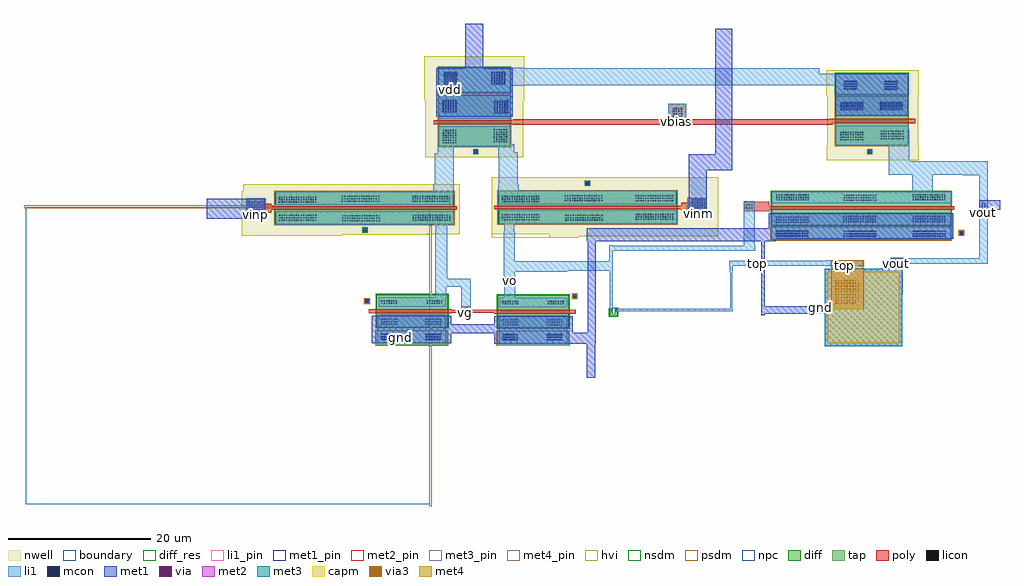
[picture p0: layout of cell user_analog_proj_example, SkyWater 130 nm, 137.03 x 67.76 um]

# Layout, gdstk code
import gdstk
lib = gdstk.Library(unit=1e-6, precision=1e-09)
def R(c, l, rs):  # rectangles x0, y0, x1, y1
    for r in rs: c.add(gdstk.rectangle(r[:2], r[2:], *l))
def A(c, l, x, y, w, h, nx, ny, dx, dy):  # array of equal rectangles
    R(c, l, [(x+i*dx, y+j*dy, x+i*dx+w, y+j*dy+h) for i in range(nx) for j in range(ny)])
nwell = (64, 20)
diff_res = (65, 13)
diff = (65, 20)
tap = (65, 44)
poly = (66, 20)
licon = (66, 44)
li1_pin = (67, 16)
li1 = (67, 20)
mcon = (67, 44)
met1_pin = (68, 16)
met1 = (68, 20)
via = (68, 44)
met2_pin = (69, 16)
met2 = (69, 20)
met3_pin = (70, 16)
met3 = (70, 20)
via3 = (70, 44)
met4_pin = (71, 16)
met4 = (71, 20)
hvi = (75, 20)
capm = (89, 44)
nsdm = (93, 44)
psdm = (94, 20)
npc = (95, 20)
boundary = (235, 4)

nmos_substrate = lib.new_cell('nmos_substrate')
R(nmos_substrate, tap, [(0,0,0.48,0.48)])
R(nmos_substrate, licon, [(0.15,0.15,0.32,0.32)])
R(nmos_substrate, li1, [(0,0,0.48,0.48)])
R(nmos_substrate, mcon, [(0.15,0.15,0.32,0.32)])
R(nmos_substrate, met1, [(0,0,0.48,0.48)])
R(nmos_substrate, hvi, [(-0.185,-0.185,0.665,0.665)])
R(nmos_substrate, psdm, [(-0.125,-0.125,0.605,0.605)])

pmos_substrate = lib.new_cell('pmos_substrate')
R(pmos_substrate, nwell, [(-0.33,-0.34,0.81,0.81)])
R(pmos_substrate, tap, [(0,0,0.48,0.48)])
R(pmos_substrate, licon, [(0.155,0.15,0.325,0.32)])
R(pmos_substrate, li1, [(0,0,0.48,0.48)])
R(pmos_substrate, mcon, [(0.155,0.15,0.325,0.32)])
R(pmos_substrate, met1, [(0,0,0.48,0.48)])
R(pmos_substrate, hvi, [(-0.33,-0.34,0.81,0.81)])
R(pmos_substrate, nsdm, [(-0.125,-0.125,0.605,0.605)])

user_analog_proj_example = lib.new_cell('user_analog_proj_example')
R(user_analog_proj_example, nwell, [(73.44,37.43,77.65,37.63), (73.44,37.63,97.17,37.91), (30.27,37.73,44.34,37.86), (30.27,37.86,56.13,37.91), (30.27,37.91,60.89,43.95), (65.38,37.91,97.17,44.93), (30.5,43.95,60.89,44.93), (65.39,44.93,97.17,45.9), (112.46,48.32,125.34,50.35), (56.07,48.72,69.83,56.68), (112.48,50.35,125.27,57.31), (55.89,56.68,69.96,62.9), (112.4,57.31,125.32,60.97)])
R(user_analog_proj_example, diff_res, [(81.97,26.44,83.07,26.73), (81.97,26.73,82.37,27.14), (82.67,26.73,83.07,27.05), (82.66,27.05,83.07,27.14), (81.97,27.14,82.07,27.34), (82.27,27.14,82.37,27.34), (82.66,27.14,82.78,27.34), (82.97,27.14,83.07,27.34), (81.97,27.34,82.37,27.44), (82.66,27.34,83.07,27.45)])
R(user_analog_proj_example, diff, [(66.25,24.81,76.24,29.36), (49.22,24.88,59.21,29.43), (81.97,26.44,83.07,26.73), (81.97,26.73,82.37,27.44), (82.67,26.73,83.07,27.05), (82.66,27.05,83.07,27.45), (104.69,39.16,129.89,43.92), (34.97,39.32,60.09,43.92), (66.29,39.4,91.41,44), (57.97,50.3,68.01,57.47), (113.69,50.4,123.85,57.31)])
R(user_analog_proj_example, tap, [(66.18,22.37,76.2,24.33), (49.15,22.38,59.17,24.4), (104.63,37.13,129.85,38.89), (113.67,57.6,123.85,60.45), (57.97,57.87,68.01,61.3)])
R(user_analog_proj_example, poly, [(65.78,26.79,77.21,26.88), (48.14,26.86,59.69,26.88), (48.14,26.88,77.21,27.35), (48.14,27.35,66.1,27.36), (48.14,27.36,59.69,27.42), (61.14,27.36,62.45,27.83), (31.04,40.42,33.51,40.98), (93.03,40.5,95.5,41.14), (31.04,40.98,34.46,41.34), (91.99,41.14,95.5,41.42), (100.79,41.15,103.83,41.19), (100.79,41.19,104.35,41.34), (31.04,41.34,60.52,41.86), (100.79,41.34,130.32,41.87), (65.78,41.42,95.5,41.94), (31.04,41.86,34.46,42.18), (100.79,41.87,104.35,42.49), (91.99,41.94,95.5,42.34), (31.04,42.18,33.51,42.97), (93.03,42.34,95.5,43.05), (90.2,53.23,92.7,53.27), (69.01,53.27,113,53.29), (68.38,53.29,113,53.32), (68.38,53.32,113.29,53.36), (57.24,53.36,113.29,53.54), (57.24,53.54,124.83,53.91), (68.38,53.91,124.83,54.09), (69.01,54.09,124.83,54.1), (90.2,54.1,92.7,56.27), (112.89,54.1,124.83,54.11), (112.89,54.11,113.33,54.13)])
A(user_analog_proj_example, licon, 73.125, 23.025, 0.17, 0.17, 7, 3, 0.34, 0.34)
A(user_analog_proj_example, licon, 66.845, 23.055, 0.17, 0.17, 7, 3, 0.34, 0.34)
A(user_analog_proj_example, licon, 56.095, 23.095, 0.17, 0.17, 7, 3, 0.34, 0.34)
A(user_analog_proj_example, licon, 49.815, 23.125, 0.17, 0.17, 7, 3, 0.34, 0.34)
A(user_analog_proj_example, licon, 66.945, 25.15, 0.17, 0.17, 7, 3, 0.34, 0.34)
A(user_analog_proj_example, licon, 73.105, 25.15, 0.17, 0.17, 7, 3, 0.34, 0.34)
A(user_analog_proj_example, licon, 49.915, 25.22, 0.17, 0.17, 7, 3, 0.34, 0.34)
A(user_analog_proj_example, licon, 56.075, 25.22, 0.17, 0.17, 7, 3, 0.34, 0.34)
A(user_analog_proj_example, licon, 66.905, 28.07, 0.17, 0.17, 7, 2, 0.34, 0.34)
A(user_analog_proj_example, licon, 73.295, 28.07, 0.17, 0.17, 7, 2, 0.34, 0.34)
A(user_analog_proj_example, licon, 49.875, 28.14, 0.17, 0.17, 7, 2, 0.34, 0.34)
A(user_analog_proj_example, licon, 56.265, 28.14, 0.17, 0.17, 7, 2, 0.34, 0.34)
A(user_analog_proj_example, licon, 105.25, 37.585, 0.17, 0.17, 14, 3, 0.34, 0.34)
A(user_analog_proj_example, licon, 114.8, 37.585, 0.17, 0.17, 14, 3, 0.34, 0.34)
A(user_analog_proj_example, licon, 124.54, 37.585, 0.17, 0.17, 14, 3, 0.34, 0.34)
A(user_analog_proj_example, licon, 105.3, 39.545, 0.17, 0.17, 14, 3, 0.34, 0.34)
A(user_analog_proj_example, licon, 114.75, 39.645, 0.17, 0.17, 14, 3, 0.34, 0.34)
A(user_analog_proj_example, licon, 124.49, 39.645, 0.17, 0.17, 14, 3, 0.34, 0.34)
A(user_analog_proj_example, licon, 44.415, 39.75, 0.17, 0.17, 16, 3, 0.34, 0.34)
A(user_analog_proj_example, licon, 35.515, 39.81, 0.17, 0.17, 16, 3, 0.34, 0.34)
A(user_analog_proj_example, licon, 75.735, 39.83, 0.17, 0.17, 16, 3, 0.34, 0.34)
A(user_analog_proj_example, licon, 54.305, 39.85, 0.17, 0.17, 16, 3, 0.34, 0.34)
A(user_analog_proj_example, licon, 66.835, 39.89, 0.17, 0.17, 16, 3, 0.34, 0.34)
A(user_analog_proj_example, licon, 85.625, 39.93, 0.17, 0.17, 16, 3, 0.34, 0.34)
A(user_analog_proj_example, licon, 31.38, 41.3, 0.17, 0.17, 6, 4, 0.34, 0.34)
A(user_analog_proj_example, licon, 101.125, 41.565, 0.17, 0.17, 3, 2, 0.34, 0.34)
A(user_analog_proj_example, licon, 93.53, 41.62, 0.17, 0.17, 6, 4, 0.34, 0.34)
A(user_analog_proj_example, licon, 35.515, 42.37, 0.17, 0.17, 16, 3, 0.34, 0.34)
A(user_analog_proj_example, licon, 66.835, 42.45, 0.17, 0.17, 16, 3, 0.34, 0.34)
A(user_analog_proj_example, licon, 54.265, 42.47, 0.17, 0.17, 16, 3, 0.34, 0.34)
A(user_analog_proj_example, licon, 44.335, 42.49, 0.17, 0.17, 16, 3, 0.34, 0.34)
A(user_analog_proj_example, licon, 85.585, 42.55, 0.17, 0.17, 16, 3, 0.34, 0.34)
A(user_analog_proj_example, licon, 75.655, 42.57, 0.17, 0.17, 16, 3, 0.34, 0.34)
A(user_analog_proj_example, licon, 114.8, 42.625, 0.17, 0.17, 14, 3, 0.34, 0.34)
A(user_analog_proj_example, licon, 105.35, 42.675, 0.17, 0.17, 14, 3, 0.34, 0.34)
A(user_analog_proj_example, licon, 124.49, 42.725, 0.17, 0.17, 14, 3, 0.34, 0.34)
A(user_analog_proj_example, licon, 58.555, 50.695, 0.17, 0.17, 6, 6, 0.34, 0.34)
A(user_analog_proj_example, licon, 65.675, 50.815, 0.17, 0.17, 6, 6, 0.34, 0.34)
A(user_analog_proj_example, licon, 114.365, 51.12, 0.17, 0.17, 10, 4, 0.34, 0.34)
A(user_analog_proj_example, licon, 120.035, 51.27, 0.17, 0.17, 10, 4, 0.34, 0.34)
A(user_analog_proj_example, licon, 90.89, 54.42, 0.17, 0.17, 4, 4, 0.34, 0.34)
A(user_analog_proj_example, licon, 65.755, 54.855, 0.17, 0.17, 6, 6, 0.34, 0.34)
A(user_analog_proj_example, licon, 58.555, 54.975, 0.17, 0.17, 6, 6, 0.34, 0.34)
A(user_analog_proj_example, licon, 114.365, 55.32, 0.17, 0.17, 10, 4, 0.34, 0.34)
A(user_analog_proj_example, licon, 119.885, 55.32, 0.17, 0.17, 10, 4, 0.34, 0.34)
A(user_analog_proj_example, licon, 120.53, 58.225, 0.17, 0.17, 6, 4, 0.34, 0.34)
A(user_analog_proj_example, licon, 114.82, 58.265, 0.17, 0.17, 6, 4, 0.34, 0.34)
A(user_analog_proj_example, licon, 58.675, 58.845, 0.17, 0.17, 6, 6, 0.34, 0.34)
A(user_analog_proj_example, licon, 65.395, 58.885, 0.17, 0.17, 6, 6, 0.34, 0.34)
R(user_analog_proj_example, licon, [(82.085,27.155,82.255,27.325), (82.79,27.155,82.96,27.325), (61.52,27.335,61.69,27.505), (61.86,27.335,62.03,27.505)])
R(user_analog_proj_example, li1_pin, [(61.52,26.92,61.99,27.09), (67.71,30.74,68.21,32.06), (102.34,33.71,103.04,34.01), (31.36,40.42,33.11,40.98), (93.58,40.58,95.33,41.14), (133.97,40.71,134.91,41.16), (90.73,53.46,92.02,53.92)])
R(user_analog_proj_example, li1, [(66.44,22.53,75.97,26.53), (49.41,22.6,58.94,26.6), (111.16,26.74,112.13,27.84), (61.14,26.86,62.45,30.57), (81.97,27.04,82.37,27.24), (82.67,27.05,83.29,27.06), (82.67,27.06,83.3,27.11), (82.67,27.11,99.22,27.46), (81.96,27.24,82.38,32.77), (83.13,27.46,99.22,27.47), (98.9,27.47,99.17,32.57), (66.55,27.69,75.97,29.03), (49.52,27.76,58.94,28.88), (49.52,28.88,59.03,29.1), (67.15,29.03,68.69,32.01), (57.49,29.1,59.03,30.57), (57.49,30.57,62.45,31.63), (57.49,31.63,62.38,31.66), (57.49,31.66,59.19,31.82), (57.47,31.82,59.19,32.13), (67.08,32.01,68.69,32.2), (57.47,32.13,59.15,37.91), (67.08,32.2,68.61,32.67), (98.85,32.57,99.22,33.51), (67.07,32.67,75.97,32.77), (67.07,32.77,82.39,34.16), (112.95,33.45,117.59,33.47), (112.44,33.47,117.59,33.51), (98.75,33.51,117.59,34.24), (121.39,33.7,123.51,33.73), (121.39,33.73,123.71,33.79), (121.39,33.79,135.05,34.59), (67.07,34.16,75.97,34.17), (81.91,34.16,82.38,35.59), (67.08,34.17,68.61,37.91), (112.44,34.24,117.59,34.27), (112.95,34.27,117.59,34.3), (121.39,34.59,123.51,34.6), (133.88,34.59,135.05,46.24), (81.91,35.59,102.39,36.32), (81.91,36.32,82.38,36.37), (100.79,36.32,102.35,42.54), (104.63,37.13,129.85,40.95), (57.47,37.91,59.16,38.4), (67.08,37.91,68.69,38.11), (67.08,38.11,68.61,38.29), (67.13,38.29,68.57,39.36), (57.57,38.4,59.16,39.28), (35.11,39.28,60.06,41.19), (66.43,39.36,91.38,41.27), (30.96,40.42,33.67,42.97), (92.87,40.5,95.58,43.05), (35.07,42.06,60.02,43.53), (66.39,42.14,91.34,43.53), (104.73,42.27,129.9,43.98), (35.07,43.53,60.04,43.97), (66.33,43.53,91.34,44.05), (57.17,43.97,60.04,44.42), (124.44,43.98,127.32,46.27), (66.33,44.05,69.2,44.93), (57.17,44.42,60.09,44.93), (57.4,44.93,60.09,49.33), (66.35,44.93,69.04,48.72), (131.5,46.24,135.05,46.27), (121.11,46.27,135.05,48.15), (121.11,48.15,131.76,48.16), (133.88,48.15,135.05,48.2), (121.11,48.16,123.99,50.42), (66.29,48.72,69.04,49.41), (57.82,49.33,60.09,50.21), (66.29,49.41,68.56,50.21), (57.82,50.21,68.56,50.53), (113.7,50.42,123.99,52.57), (57.98,50.53,68,53.09), (113.7,52.57,123.94,53.16), (90.2,53.23,92.7,56.27), (57.98,54.17,68.04,58.81), (113.65,54.58,123.88,57.53), (113.65,57.53,123.85,58.84), (57.98,58.81,69.83,58.83), (57.98,58.83,111.38,58.84), (57.98,58.84,123.85,60.45), (57.98,60.45,111.38,61.23), (113.67,60.45,123.85,60.49), (57.98,61.23,69.83,61.27), (57.98,61.27,68.04,61.36)])
A(user_analog_proj_example, mcon, 67.01, 23.035, 0.17, 0.17, 6, 3, 0.36, 0.36)
A(user_analog_proj_example, mcon, 73.22, 23.035, 0.17, 0.17, 6, 3, 0.36, 0.36)
A(user_analog_proj_example, mcon, 49.94, 23.07, 0.17, 0.17, 6, 3, 0.36, 0.36)
A(user_analog_proj_example, mcon, 56.205, 23.07, 0.17, 0.17, 6, 3, 0.36, 0.36)
A(user_analog_proj_example, mcon, 121.65, 34.115, 0.17, 0.17, 4, 1, 0.36, 0)
A(user_analog_proj_example, mcon, 114.815, 37.56, 0.17, 0.17, 13, 3, 0.36, 0.36)
A(user_analog_proj_example, mcon, 124.635, 37.56, 0.17, 0.17, 13, 3, 0.36, 0.36)
A(user_analog_proj_example, mcon, 105.32, 37.585, 0.17, 0.17, 13, 3, 0.36, 0.36)
A(user_analog_proj_example, mcon, 65.725, 54.965, 0.17, 0.17, 6, 5, 0.36, 0.36)
A(user_analog_proj_example, mcon, 58.485, 55.125, 0.17, 0.17, 6, 5, 0.36, 0.36)
A(user_analog_proj_example, mcon, 114.475, 55.48, 0.17, 0.17, 9, 3, 0.36, 0.36)
A(user_analog_proj_example, mcon, 119.96, 55.48, 0.17, 0.17, 9, 3, 0.36, 0.36)
A(user_analog_proj_example, mcon, 120.66, 58.195, 0.17, 0.17, 5, 4, 0.36, 0.36)
A(user_analog_proj_example, mcon, 114.95, 58.235, 0.17, 0.17, 5, 4, 0.36, 0.36)
A(user_analog_proj_example, mcon, 58.785, 58.975, 0.17, 0.17, 5, 5, 0.36, 0.36)
A(user_analog_proj_example, mcon, 65.325, 59.035, 0.17, 0.17, 6, 5, 0.36, 0.36)
R(user_analog_proj_example, mcon, [(114.79,33.76,114.96,33.93), (134.19,41.73,134.36,41.9), (134.55,41.73,134.72,41.9), (134.19,42.09,134.36,42.26), (134.55,42.09,134.72,42.26)])
R(user_analog_proj_example, met1_pin, [(52.36,22.76,52.92,24.14), (58.76,57.87,60.53,58.51)])
R(user_analog_proj_example, met1, [(78.74,17.79,79.94,22.58), (65.78,22.56,76.75,22.58), (65.78,22.58,79.98,24.02), (48.61,22.63,59.69,22.69), (48.52,22.69,59.69,24.02), (48.52,24.02,79.98,24.13), (48.52,24.13,76.75,25.26), (78.85,24.13,79.98,36.92), (48.52,25.26,59.69,26.4), (65.78,25.26,76.75,26.4), (48.61,26.4,59.69,26.47), (103.23,26.54,103.71,26.78), (110.37,26.77,112.06,26.78), (103.21,26.78,112.06,27.79), (103.21,27.79,110.74,27.81), (103.21,27.81,110.69,27.84), (103.23,27.84,103.71,36.92), (113.03,33.45,117.62,34.3), (121.39,33.7,123.16,34.63), (78.77,36.92,105.3,37.32), (78.77,37.32,130.19,38.74), (104.29,38.74,130.19,40.85), (25.38,40.09,33.53,42.91), (93.06,40.39,95.58,46.91), (133.86,41.4,136.76,42.67), (93.06,46.91,99.14,49.13), (96.77,49.13,99.14,66.75), (57.58,54.45,68.32,61.2), (113.6,54.58,123.88,60.48), (61.66,61.2,64.18,67.49)])
R(user_analog_proj_example, via, [(111.57,27.165,111.72,27.315)])
R(user_analog_proj_example, met2_pin, [(111.36,27.61,111.81,27.79)])
R(user_analog_proj_example, met2, [(112.14,22.22,123.07,26.77), (111.14,26.77,123.07,27.81), (112.14,27.81,123.07,33.02), (112.14,33.02,123.09,33.03), (112.14,33.03,123.11,33.1), (113.09,33.1,117.63,33.13), (120.01,33.1,123.11,33.13), (122.86,33.13,123.11,33.2)])
R(user_analog_proj_example, met3_pin, [(121.92,33.79,122.49,33.94)])
R(user_analog_proj_example, met3, [(112.14,22.22,123.07,29.57), (112.14,29.57,123.11,33.1), (120.01,33.1,123.11,33.13), (121.41,33.13,123.09,34.58)])
A(user_analog_proj_example, via3, 113.605, 28.16, 0.2, 0.2, 8, 2, 0.4, 3.2)
A(user_analog_proj_example, via3, 113.605, 28.56, 0.2, 0.2, 9, 7, 0.4, 0.4)
R(user_analog_proj_example, met4_pin, [(114.52,33.51,115.25,33.64)])
R(user_analog_proj_example, met4, [(113.1,27.42,117.63,32.98), (113.08,32.98,117.63,33.13), (113.08,33.13,117.59,34.28)])
R(user_analog_proj_example, hvi, [(65.38,37.43,77.65,37.63), (65.38,37.63,97.17,44.93), (30.27,37.73,44.34,37.86), (30.27,37.86,56.72,37.91), (30.27,37.91,60.89,43.95), (30.5,43.95,60.89,44.93), (65.39,44.93,97.17,45.9), (112.46,48.32,125.34,50.35), (56.07,48.72,69.83,56.68), (112.48,50.35,125.27,57.31), (55.89,56.68,69.96,62.9), (112.4,57.31,125.32,60.97)])
R(user_analog_proj_example, capm, [(112.6,22.68,122.59,32.67)])
R(user_analog_proj_example, nsdm, [(56.63,-0.27,57.01,22.255), (56.63,24.525,57.01,24.755), (66.125,24.685,76.365,29.485), (49.095,24.755,59.335,29.555), (81.845,26.315,83.195,27.565), (82.535,27.565,83.195,27.575), (56.63,29.555,57.01,39.195), (104.565,39.035,130.015,44.045), (113.545,57.475,123.975,60.575), (57.845,57.745,68.135,61.425)])
R(user_analog_proj_example, psdm, [(56.63,-0.27,57.01,22.255), (66.055,22.245,76.325,24.455), (49.025,22.255,59.295,24.525), (56.63,24.525,57.01,24.755), (56.63,29.555,57.01,39.195), (104.505,37.005,129.975,39.015), (34.845,39.195,60.215,41.6), (66.165,39.275,91.535,44.125), (-0.27,41.6,60.215,41.98), (34.845,41.98,60.215,44.045), (57.845,50.175,68.135,57.595), (113.565,50.275,123.975,57.435)])
R(user_analog_proj_example, npc, [(61.42,27.235,62.13,27.605), (31.28,41.2,33.35,42.59), (101.025,41.465,102.075,42.175), (93.43,41.52,95.5,42.91), (90.79,54.32,92.18,55.71)])
R(user_analog_proj_example, boundary, [(0,0,56.72,41.69)])
user_analog_proj_example.add(gdstk.Reference(nmos_substrate, (131.11,37.87)))
user_analog_proj_example.add(gdstk.Reference(nmos_substrate, (47.65,28.31)))
user_analog_proj_example.add(gdstk.Reference(nmos_substrate, (76.81,29)))
user_analog_proj_example.add(gdstk.Reference(pmos_substrate, (62.91,49.28)))
user_analog_proj_example.add(gdstk.Reference(pmos_substrate, (47.36,38.27)))
user_analog_proj_example.add(gdstk.Reference(pmos_substrate, (78.6,44.83)))
user_analog_proj_example.add(gdstk.Reference(pmos_substrate, (118.25,49.28)))
user_analog_proj_example.add(gdstk.Label('gnd', (52.64,23.45), layer=68, texttype=16))
user_analog_proj_example.add(gdstk.Label('vo', (67.96,31.4), layer=67, texttype=16))
user_analog_proj_example.add(gdstk.Label('vinp', (32.235,40.7), layer=67, texttype=16))
user_analog_proj_example.add(gdstk.Label('vinm', (94.455,40.86), layer=67, texttype=16))
user_analog_proj_example.add(gdstk.Label('vdd', (59.645,58.19), layer=68, texttype=16))
user_analog_proj_example.add(gdstk.Label('vout', (134.44,40.935), layer=67, texttype=16))
user_analog_proj_example.add(gdstk.Label('top', (102.69,33.86), layer=67, texttype=16))
user_analog_proj_example.add(gdstk.Label('top', (114.885,33.575), layer=71, texttype=16))
user_analog_proj_example.add(gdstk.Label('vout', (122.205,33.865), layer=70, texttype=16))
user_analog_proj_example.add(gdstk.Label('gnd', (111.585,27.7), layer=69, texttype=16))
user_analog_proj_example.add(gdstk.Label('vbias', (91.375,53.69), layer=67, texttype=16))
user_analog_proj_example.add(gdstk.Label('vg', (61.755,27.005), layer=67, texttype=16))

lib.write_gds('user_analog_proj_example.gds')
